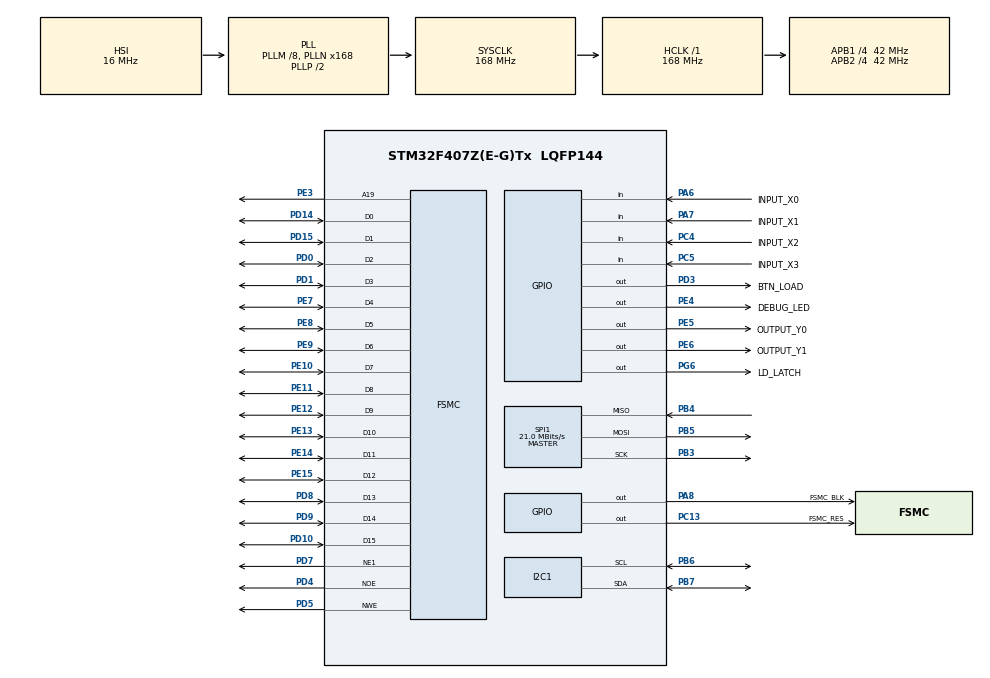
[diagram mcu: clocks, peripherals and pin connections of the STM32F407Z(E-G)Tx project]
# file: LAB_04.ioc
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FSMC.AddressSetupTime1=0xf
FSMC.BusTurnAroundDuration1=0
FSMC.DataSetupTime1=60
FSMC.ExtendedAddressSetupTime1=8
FSMC.ExtendedBusTurnAroundDuration1=0
FSMC.ExtendedDataSetupTime1=9
FSMC.ExtendedMode1=FSMC_EXTENDED_MODE_ENABLE
Mcu.Family=STM32F4
Mcu.Name=STM32F407Z(E-G)Tx
Mcu.Package=LQFP144
NVIC.PriorityGroup=NVIC_PRIORITYGROUP_4
NVIC.TIM2_IRQn=true\:0\:0\:false\:false\:true\:true\:true
PA13.Mode=Serial_Wire
PA13.Signal=SYS_JTMS-SWDIO
PA14.Mode=Serial_Wire
PA14.Signal=SYS_JTCK-SWCLK
PA6.GPIO_Label=INPUT_X0
PA6.Signal=GPIO_Input
PA7.GPIO_Label=INPUT_X1
PA7.Signal=GPIO_Input
PA8.GPIO_Label=FSMC_BLK
PA8.Signal=GPIO_Output
PB3.Mode=Full_Duplex_Master
PB3.Signal=SPI1_SCK
PB4.Mode=Full_Duplex_Master
PB4.Signal=SPI1_MISO
PB5.Mode=Full_Duplex_Master
PB5.Signal=SPI1_MOSI
PB6.Mode=I2C
PB6.Signal=I2C1_SCL
PB7.Mode=I2C
PB7.Signal=I2C1_SDA
PC13-ANTI_TAMP.GPIO_Label=FSMC_RES
PC13-ANTI_TAMP.Signal=GPIO_Output
PC4.GPIO_Label=INPUT_X2
PC4.Signal=GPIO_Input
PC5.GPIO_Label=INPUT_X3
PC5.Signal=GPIO_Input
PD0.Signal=FSMC_D2_DA2
PD1.Signal=FSMC_D3_DA3
PD10.Signal=FSMC_D15_DA15
PD14.Signal=FSMC_D0_DA0
PD15.Signal=FSMC_D1_DA1
PD3.GPIO_Label=BTN_LOAD
PD3.Signal=GPIO_Output
PD4.Signal=FSMC_NOE
PD5.Signal=FSMC_NWE
PD7.Mode=NorPsramChipSelect1_1
PD7.Signal=FSMC_NE1
PD8.Signal=FSMC_D13_DA13
PD9.Signal=FSMC_D14_DA14
PE10.Signal=FSMC_D7_DA7
PE11.Signal=FSMC_D8_DA8
PE12.Signal=FSMC_D9_DA9
PE13.Signal=FSMC_D10_DA10
PE14.Signal=FSMC_D11_DA11
PE15.Signal=FSMC_D12_DA12
PE3.Signal=FSMC_A19
PE4.GPIO_Label=DEBUG_LED
PE4.Signal=GPIO_Output
PE5.GPIO_Label=OUTPUT_Y0
PE5.Signal=GPIO_Output
PE6.GPIO_Label=OUTPUT_Y1
PE6.Signal=GPIO_Output
PE7.Signal=FSMC_D4_DA4
PE8.Signal=FSMC_D5_DA5
PE9.Signal=FSMC_D6_DA6
PG6.GPIO_Label=LD_LATCH
PG6.Signal=GPIO_Output
PH0-OSC_IN.Mode=HSE-External-Oscillator
PH0-OSC_IN.Signal=RCC_OSC_IN
PH1-OSC_OUT.Mode=HSE-External-Oscillator
PH1-OSC_OUT.Signal=RCC_OSC_OUT
ProjectManager.HeapSize=0x200
ProjectManager.StackSize=0x400
ProjectManager.TargetToolchain=STM32CubeIDE
RCC.48MHZClocksFreq_Value=84000000
RCC.AHBFreq_Value=168000000
RCC.APB1CLKDivider=RCC_HCLK_DIV4
RCC.APB1Freq_Value=42000000
RCC.APB1TimFreq_Value=84000000
RCC.APB2CLKDivider=RCC_HCLK_DIV4
RCC.APB2Freq_Value=42000000
RCC.APB2TimFreq_Value=84000000
RCC.CortexFreq_Value=168000000
RCC.HCLKFreq_Value=168000000
RCC.HSE_VALUE=8000000
RCC.HSI_VALUE=16000000
RCC.LSE_VALUE=32768
RCC.PLLM=8
RCC.PLLN=168
RCC.SYSCLKFreq_VALUE=168000000
RCC.SYSCLKSource=RCC_SYSCLKSOURCE_PLLCLK
RCC.VCOOutputFreq_Value=336000000
SH.FSMC_A19.0=FSMC_A19,A19_1
SH.FSMC_D0_DA0.0=FSMC_D0,16b-d1
SH.FSMC_D10_DA10.0=FSMC_D10,16b-d1
SH.FSMC_D11_DA11.0=FSMC_D11,16b-d1
SH.FSMC_D12_DA12.0=FSMC_D12,16b-d1
SH.FSMC_D13_DA13.0=FSMC_D13,16b-d1
SH.FSMC_D14_DA14.0=FSMC_D14,16b-d1
SH.FSMC_D15_DA15.0=FSMC_D15,16b-d1
SH.FSMC_D1_DA1.0=FSMC_D1,16b-d1
SH.FSMC_D2_DA2.0=FSMC_D2,16b-d1
SH.FSMC_D3_DA3.0=FSMC_D3,16b-d1
SH.FSMC_D4_DA4.0=FSMC_D4,16b-d1
SH.FSMC_D5_DA5.0=FSMC_D5,16b-d1
SH.FSMC_D6_DA6.0=FSMC_D6,16b-d1
SH.FSMC_D7_DA7.0=FSMC_D7,16b-d1
SH.FSMC_D8_DA8.0=FSMC_D8,16b-d1
SH.FSMC_D9_DA9.0=FSMC_D9,16b-d1
SH.FSMC_NOE.0=FSMC_NOE,Lcd1
SH.FSMC_NWE.0=FSMC_NWE,Lcd1
SPI1.CalculateBaudRate=21.0 MBits/s
SPI1.Direction=SPI_DIRECTION_2LINES
SPI1.Mode=SPI_MODE_MASTER
SPI1.VirtualType=VM_MASTER
TIM2.Period=100-1
TIM2.Prescaler=840-1
VP_TIM2_VS_ClockSourceINT.Mode=Internal
board=custom

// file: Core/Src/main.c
/* USER CODE BEGIN Header */
/**
  ******************************************************************************
  * @file           : main.c
  * @brief          : Main program body
  ******************************************************************************
  * @attention
  *
  * <h2><center>&copy; Copyright (c) 2025 STMicroelectronics.
  * All rights reserved.</center></h2>
  *
  * This software component is licensed by ST under BSD 3-Clause license,
  * the "License"; You may not use this file except in compliance with the
  * License. You may obtain a copy of the License at:
  *                        opensource.org/licenses/BSD-3-Clause
  *
  ******************************************************************************
  */
/* USER CODE END Header */
#include "main.h"

/* USER CODE BEGIN Includes */
#include "software_timer.h"
#include "led_7seg.h"
#include "button.h"
#include "lcd.h"
#include "picture.h"
#include "ds3231.h"
/* USER CODE END Includes */

I2C_HandleTypeDef hi2c1;

SPI_HandleTypeDef hspi1;

TIM_HandleTypeDef htim2;

SRAM_HandleTypeDef hsram1;

/* USER CODE BEGIN PV */
uint8_t count_led_debug = 0;
/* USER CODE END PV */

void SystemClock_Config(void);
static void MX_GPIO_Init(void);
static void MX_SPI1_Init(void);
static void MX_TIM2_Init(void);
static void MX_FSMC_Init(void);
static void MX_I2C1_Init(void);
/* USER CODE BEGIN PFP */
void system_init();
void test_LedDebug();
void displayTime();
void updateTime();
/* USER CODE END PFP */

int main(void)
{

  /* MCU Configuration--------------------------------------------------------*/

  /* Reset of all peripherals, Initializes the Flash interface and the Systick. */
  HAL_Init();

  /* Configure the system clock */
  SystemClock_Config();

  /* Initialize all configured peripherals */
  MX_GPIO_Init();
  MX_SPI1_Init();
  MX_TIM2_Init();
  MX_FSMC_Init();
  MX_I2C1_Init();
  /* USER CODE BEGIN 2 */
  system_init();
  /* USER CODE END 2 */

  /* Infinite loop */
  /* USER CODE BEGIN WHILE */
  lcd_Clear(BLACK);
  updateTime();
  while (1)
  {
	  while(!flag_timer2);
	  flag_timer2 = 0;
	  button_Scan();
	  ds3231_ReadTime();
	  displayTime();
    /* USER CODE END WHILE */

  }
}

void SystemClock_Config(void)
{
  RCC_OscInitTypeDef RCC_OscInitStruct = {0};
  RCC_ClkInitTypeDef RCC_ClkInitStruct = {0};

  /** Configure the main internal regulator output voltage
  */
  __HAL_RCC_PWR_CLK_ENABLE();
  __HAL_PWR_VOLTAGESCALING_CONFIG(PWR_REGULATOR_VOLTAGE_SCALE1);
  /** Initializes the RCC Oscillators according to the specified parameters
  * in the RCC_OscInitTypeDef structure.
  */
  RCC_OscInitStruct.OscillatorType = RCC_OSCILLATORTYPE_HSI;
  RCC_OscInitStruct.HSIState = RCC_HSI_ON;
  RCC_OscInitStruct.HSICalibrationValue = RCC_HSICALIBRATION_DEFAULT;
  RCC_OscInitStruct.PLL.PLLState = RCC_PLL_ON;
  RCC_OscInitStruct.PLL.PLLSource = RCC_PLLSOURCE_HSI;
  RCC_OscInitStruct.PLL.PLLM = 8;
  RCC_OscInitStruct.PLL.PLLN = 168;
  RCC_OscInitStruct.PLL.PLLP = RCC_PLLP_DIV2;
  RCC_OscInitStruct.PLL.PLLQ = 4;
  if (HAL_RCC_OscConfig(&RCC_OscInitStruct) != HAL_OK)
  {
    Error_Handler();
  }
  /** Initializes the CPU, AHB and APB buses clocks
  */
  RCC_ClkInitStruct.ClockType = RCC_CLOCKTYPE_HCLK|RCC_CLOCKTYPE_SYSCLK
                              |RCC_CLOCKTYPE_PCLK1|RCC_CLOCKTYPE_PCLK2;
  RCC_ClkInitStruct.SYSCLKSource = RCC_SYSCLKSOURCE_PLLCLK;
  RCC_ClkInitStruct.AHBCLKDivider = RCC_SYSCLK_DIV1;
  RCC_ClkInitStruct.APB1CLKDivider = RCC_HCLK_DIV4;
  RCC_ClkInitStruct.APB2CLKDivider = RCC_HCLK_DIV4;

  if (HAL_RCC_ClockConfig(&RCC_ClkInitStruct, FLASH_LATENCY_5) != HAL_OK)
  {
    Error_Handler();
  }
}

static void MX_I2C1_Init(void)
{

  hi2c1.Instance = I2C1;
  hi2c1.Init.ClockSpeed = 100000;
  hi2c1.Init.DutyCycle = I2C_DUTYCYCLE_2;
  hi2c1.Init.OwnAddress1 = 0;
  hi2c1.Init.AddressingMode = I2C_ADDRESSINGMODE_7BIT;
  hi2c1.Init.DualAddressMode = I2C_DUALADDRESS_DISABLE;
  hi2c1.Init.OwnAddress2 = 0;
  hi2c1.Init.GeneralCallMode = I2C_GENERALCALL_DISABLE;
  hi2c1.Init.NoStretchMode = I2C_NOSTRETCH_DISABLE;
  if (HAL_I2C_Init(&hi2c1) != HAL_OK)
  {
    Error_Handler();
  }

}

static void MX_SPI1_Init(void)
{

  /* SPI1 parameter configuration*/
  hspi1.Instance = SPI1;
  hspi1.Init.Mode = SPI_MODE_MASTER;
  hspi1.Init.Direction = SPI_DIRECTION_2LINES;
  hspi1.Init.DataSize = SPI_DATASIZE_8BIT;
  hspi1.Init.CLKPolarity = SPI_POLARITY_LOW;
  hspi1.Init.CLKPhase = SPI_PHASE_1EDGE;
  hspi1.Init.NSS = SPI_NSS_SOFT;
  hspi1.Init.BaudRatePrescaler = SPI_BAUDRATEPRESCALER_2;
  hspi1.Init.FirstBit = SPI_FIRSTBIT_MSB;
  hspi1.Init.TIMode = SPI_TIMODE_DISABLE;
  hspi1.Init.CRCCalculation = SPI_CRCCALCULATION_DISABLE;
  hspi1.Init.CRCPolynomial = 10;
  if (HAL_SPI_Init(&hspi1) != HAL_OK)
  {
    Error_Handler();
  }

}

static void MX_TIM2_Init(void)
{

  TIM_ClockConfigTypeDef sClockSourceConfig = {0};
  TIM_MasterConfigTypeDef sMasterConfig = {0};

  htim2.Instance = TIM2;
  htim2.Init.Prescaler = 840-1;
  htim2.Init.CounterMode = TIM_COUNTERMODE_UP;
  htim2.Init.Period = 100-1;
  htim2.Init.ClockDivision = TIM_CLOCKDIVISION_DIV1;
  htim2.Init.AutoReloadPreload = TIM_AUTORELOAD_PRELOAD_DISABLE;
  if (HAL_TIM_Base_Init(&htim2) != HAL_OK)
  {
    Error_Handler();
  }
  sClockSourceConfig.ClockSource = TIM_CLOCKSOURCE_INTERNAL;
  if (HAL_TIM_ConfigClockSource(&htim2, &sClockSourceConfig) != HAL_OK)
  {
    Error_Handler();
  }
  sMasterConfig.MasterOutputTrigger = TIM_TRGO_RESET;
  sMasterConfig.MasterSlaveMode = TIM_MASTERSLAVEMODE_DISABLE;
  if (HAL_TIMEx_MasterConfigSynchronization(&htim2, &sMasterConfig) != HAL_OK)
  {
    Error_Handler();
  }

}

static void MX_GPIO_Init(void)
{
  GPIO_InitTypeDef GPIO_InitStruct = {0};

  /* GPIO Ports Clock Enable */
  __HAL_RCC_GPIOE_CLK_ENABLE();
  __HAL_RCC_GPIOC_CLK_ENABLE();
  __HAL_RCC_GPIOH_CLK_ENABLE();
  __HAL_RCC_GPIOA_CLK_ENABLE();
  __HAL_RCC_GPIOD_CLK_ENABLE();
  __HAL_RCC_GPIOG_CLK_ENABLE();
  __HAL_RCC_GPIOB_CLK_ENABLE();

  /*Configure GPIO pin Output Level */
  HAL_GPIO_WritePin(GPIOE, DEBUG_LED_Pin|OUTPUT_Y0_Pin|OUTPUT_Y1_Pin, GPIO_PIN_RESET);

  /*Configure GPIO pin Output Level */
  HAL_GPIO_WritePin(FSMC_RES_GPIO_Port, FSMC_RES_Pin, GPIO_PIN_RESET);

  /*Configure GPIO pin Output Level */
  HAL_GPIO_WritePin(LD_LATCH_GPIO_Port, LD_LATCH_Pin, GPIO_PIN_RESET);

  /*Configure GPIO pin Output Level */
  HAL_GPIO_WritePin(FSMC_BLK_GPIO_Port, FSMC_BLK_Pin, GPIO_PIN_RESET);

  /*Configure GPIO pin Output Level */
  HAL_GPIO_WritePin(BTN_LOAD_GPIO_Port, BTN_LOAD_Pin, GPIO_PIN_RESET);

  /*Configure GPIO pins : DEBUG_LED_Pin OUTPUT_Y0_Pin OUTPUT_Y1_Pin */
  GPIO_InitStruct.Pin = DEBUG_LED_Pin|OUTPUT_Y0_Pin|OUTPUT_Y1_Pin;
  GPIO_InitStruct.Mode = GPIO_MODE_OUTPUT_PP;
  GPIO_InitStruct.Pull = GPIO_NOPULL;
  GPIO_InitStruct.Speed = GPIO_SPEED_FREQ_LOW;
  HAL_GPIO_Init(GPIOE, &GPIO_InitStruct);

  /*Configure GPIO pin : FSMC_RES_Pin */
  GPIO_InitStruct.Pin = FSMC_RES_Pin;
  GPIO_InitStruct.Mode = GPIO_MODE_OUTPUT_PP;
  GPIO_InitStruct.Pull = GPIO_NOPULL;
  GPIO_InitStruct.Speed = GPIO_SPEED_FREQ_LOW;
  HAL_GPIO_Init(FSMC_RES_GPIO_Port, &GPIO_InitStruct);

  /*Configure GPIO pins : INPUT_X0_Pin INPUT_X1_Pin */
  GPIO_InitStruct.Pin = INPUT_X0_Pin|INPUT_X1_Pin;
  GPIO_InitStruct.Mode = GPIO_MODE_INPUT;
  GPIO_InitStruct.Pull = GPIO_NOPULL;
  HAL_GPIO_Init(GPIOA, &GPIO_InitStruct);

  /*Configure GPIO pins : INPUT_X2_Pin INPUT_X3_Pin */
  GPIO_InitStruct.Pin = INPUT_X2_Pin|INPUT_X3_Pin;
  GPIO_InitStruct.Mode = GPIO_MODE_INPUT;
  GPIO_InitStruct.Pull = GPIO_NOPULL;
  HAL_GPIO_Init(GPIOC, &GPIO_InitStruct);

  /*Configure GPIO pin : LD_LATCH_Pin */
  GPIO_InitStruct.Pin = LD_LATCH_Pin;
  GPIO_InitStruct.Mode = GPIO_MODE_OUTPUT_PP;
  GPIO_InitStruct.Pull = GPIO_NOPULL;
  GPIO_InitStruct.Speed = GPIO_SPEED_FREQ_LOW;
  HAL_GPIO_Init(LD_LATCH_GPIO_Port, &GPIO_InitStruct);

  /*Configure GPIO pin : FSMC_BLK_Pin */
  GPIO_InitStruct.Pin = FSMC_BLK_Pin;
  GPIO_InitStruct.Mode = GPIO_MODE_OUTPUT_PP;
  GPIO_InitStruct.Pull = GPIO_NOPULL;
  GPIO_InitStruct.Speed = GPIO_SPEED_FREQ_LOW;
  HAL_GPIO_Init(FSMC_BLK_GPIO_Port, &GPIO_InitStruct);

  /*Configure GPIO pin : BTN_LOAD_Pin */
  GPIO_InitStruct.Pin = BTN_LOAD_Pin;
  GPIO_InitStruct.Mode = GPIO_MODE_OUTPUT_PP;
  GPIO_InitStruct.Pull = GPIO_NOPULL;
  GPIO_InitStruct.Speed = GPIO_SPEED_FREQ_LOW;
  HAL_GPIO_Init(BTN_LOAD_GPIO_Port, &GPIO_InitStruct);

}

/* FSMC initialization function */
static void MX_FSMC_Init(void)
{

  FSMC_NORSRAM_TimingTypeDef Timing = {0};
  FSMC_NORSRAM_TimingTypeDef ExtTiming = {0};

  /** Perform the SRAM1 memory initialization sequence
  */
  hsram1.Instance = FSMC_NORSRAM_DEVICE;
  hsram1.Extended = FSMC_NORSRAM_EXTENDED_DEVICE;
  /* hsram1.Init */
  hsram1.Init.NSBank = FSMC_NORSRAM_BANK1;
  hsram1.Init.DataAddressMux = FSMC_DATA_ADDRESS_MUX_DISABLE;
  hsram1.Init.MemoryType = FSMC_MEMORY_TYPE_SRAM;
  hsram1.Init.MemoryDataWidth = FSMC_NORSRAM_MEM_BUS_WIDTH_16;
  hsram1.Init.BurstAccessMode = FSMC_BURST_ACCESS_MODE_DISABLE;
  hsram1.Init.WaitSignalPolarity = FSMC_WAIT_SIGNAL_POLARITY_LOW;
  hsram1.Init.WrapMode = FSMC_WRAP_MODE_DISABLE;
  hsram1.Init.WaitSignalActive = FSMC_WAIT_TIMING_BEFORE_WS;
  hsram1.Init.WriteOperation = FSMC_WRITE_OPERATION_ENABLE;
  hsram1.Init.WaitSignal = FSMC_WAIT_SIGNAL_DISABLE;
  hsram1.Init.ExtendedMode = FSMC_EXTENDED_MODE_ENABLE;
  hsram1.Init.AsynchronousWait = FSMC_ASYNCHRONOUS_WAIT_DISABLE;
  hsram1.Init.WriteBurst = FSMC_WRITE_BURST_DISABLE;
  hsram1.Init.PageSize = FSMC_PAGE_SIZE_NONE;
  /* Timing */
  Timing.AddressSetupTime = 0xf;
  Timing.AddressHoldTime = 15;
  Timing.DataSetupTime = 60;
  Timing.BusTurnAroundDuration = 0;
  Timing.CLKDivision = 16;
  Timing.DataLatency = 17;
  Timing.AccessMode = FSMC_ACCESS_MODE_A;
  /* ExtTiming */
  ExtTiming.AddressSetupTime = 8;
  ExtTiming.AddressHoldTime = 15;
  ExtTiming.DataSetupTime = 9;
  ExtTiming.BusTurnAroundDuration = 0;
  ExtTiming.CLKDivision = 16;
  ExtTiming.DataLatency = 17;
  ExtTiming.AccessMode = FSMC_ACCESS_MODE_A;

  if (HAL_SRAM_Init(&hsram1, &Timing, &ExtTiming) != HAL_OK)
  {
    Error_Handler( );
  }

}

/* USER CODE BEGIN 4 */
void system_init(){
	  HAL_GPIO_WritePin(OUTPUT_Y0_GPIO_Port, OUTPUT_Y0_Pin, 0);
	  HAL_GPIO_WritePin(OUTPUT_Y1_GPIO_Port, OUTPUT_Y1_Pin, 0);
	  HAL_GPIO_WritePin(DEBUG_LED_GPIO_Port, DEBUG_LED_Pin, 0);
	  timer_init();
	  led7_init();
	  button_init();
	  lcd_init();
	  ds3231_init();
	  setTimer2(50);
}

void test_LedDebug(){
	count_led_debug = (count_led_debug + 1)%20;
	if(count_led_debug == 0){
		HAL_GPIO_TogglePin(DEBUG_LED_GPIO_Port, DEBUG_LED_Pin);
	}
}

void test_7seg(){
	led7_SetDigit(0, 0, 0);
	led7_SetDigit(5, 1, 0);
	led7_SetDigit(4, 2, 0);
	led7_SetDigit(7, 3, 0);
}
void test_button(){
	for(int i = 0; i < 16; i++){
		if(button_count[i] == 1){
			led7_SetDigit(i/10, 2, 0);
			led7_SetDigit(i%10, 3, 0);
		}
	}
}

void updateTime(){
	ds3231_Write(ADDRESS_YEAR, 25);
	ds3231_Write(ADDRESS_MONTH, 11);
	ds3231_Write(ADDRESS_DATE, 03);
	ds3231_Write(ADDRESS_DAY, 2);
	ds3231_Write(ADDRESS_HOUR, 17);
	ds3231_Write(ADDRESS_MIN, 45);
	ds3231_Write(ADDRESS_SEC, 30);
}

uint8_t isButtonUp()
{
    if (button_count[3] == 1)
        return 1;
    else
        return 0;
}
uint8_t isButtonDown()
{
    if (button_count[7] == 1)
        return 1;
    else
        return 0;
}
void displayTime(){
	lcd_ShowIntNum(70, 100, ds3231_hours, 2, GREEN, BLACK, 24);
	lcd_ShowIntNum(110, 100, ds3231_min, 2, GREEN, BLACK, 24);
	lcd_ShowIntNum(150, 100, ds3231_sec, 2, GREEN, BLACK, 24);
	lcd_ShowIntNum(20, 130, ds3231_day, 2, YELLOW, BLACK, 24);
	lcd_ShowIntNum(70, 130, ds3231_date, 2, YELLOW, BLACK, 24);
	lcd_ShowIntNum(110, 130, ds3231_month, 2, YELLOW, BLACK, 24);
	lcd_ShowIntNum(150, 130, ds3231_year, 2, YELLOW, BLACK, 24);
}

/* USER CODE END 4 */

void Error_Handler(void)
{
  __disable_irq();
  while (1)
  {
  }
}

/************************ (C) COPYRIGHT STMicroelectronics *****END OF FILE****/
